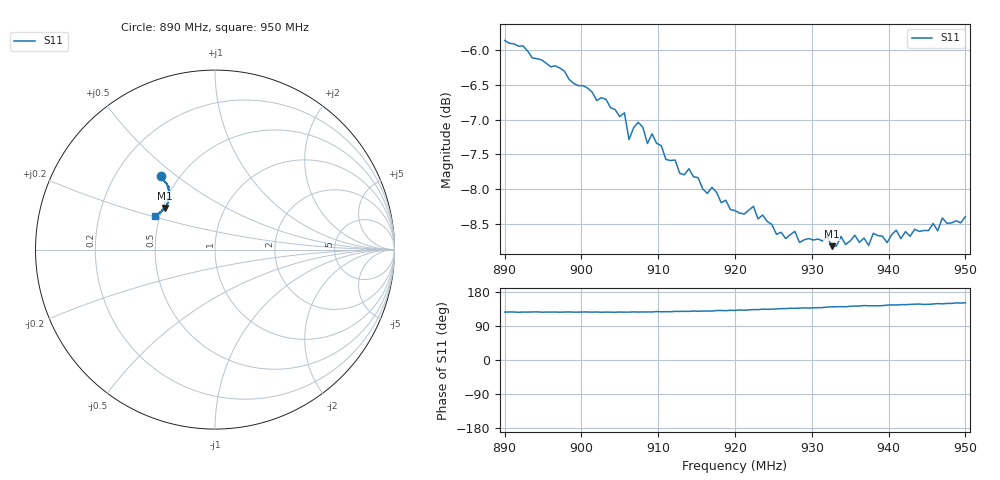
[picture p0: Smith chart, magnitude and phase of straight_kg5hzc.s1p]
# HZ S RI R 50
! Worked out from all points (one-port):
!   101 points, 890 MHz to 950 MHz, reference 50 ohm
!   lowest |S11| = -8.8 dB at 932.6 MHz (marker M1), VSWR 2.14, Z = 25.7 + j13.7 ohm
!   |S11| at or under -10 dB: nowhere
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8.9e8  -0.3025 0.4098
8.978e8  -0.288 0.389
9.05e8  -0.2673 0.3606
9.056e8  -0.2676 0.364
9.062e8  -0.256 0.3481
9.074e8  -0.2648 0.3572
9.086e8  -0.257 0.3439
9.092e8  -0.2605 0.3499
9.098e8  -0.2639 0.3387
9.128e8  -0.2528 0.3211
9.14e8  -0.2551 0.3231
9.2e8  -0.2505 0.2911
9.224e8  -0.2639 0.2829
9.254e8  -0.2601 0.2621
9.278e8  -0.2682 0.2564
9.284e8  -0.2657 0.2492
9.32e8  -0.2808 0.2375
9.326e8  -0.2784 0.2315
9.35e8  -0.287 0.226
9.368e8  -0.2958 0.2172
9.374e8  -0.29 0.2175
9.386e8  -0.2941 0.2221
9.428e8  -0.308 0.2015
9.446e8  -0.3103 0.2045
9.464e8  -0.3182 0.1916
9.47e8  -0.3226 0.1998
9.488e8  -0.3293 0.1848
9.5e8  -0.3324 0.1848
